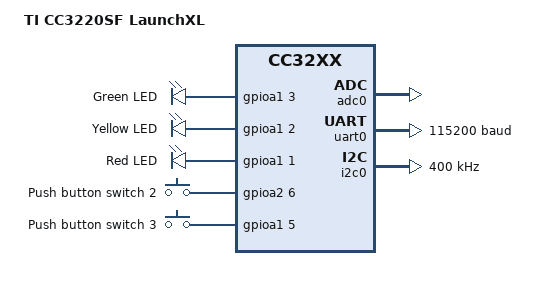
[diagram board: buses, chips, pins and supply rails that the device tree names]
/* SPDX-License-Identifier: Apache-2.0 */

/dts-v1/;

#include <ti/cc3220sf.dtsi>

/ {
	model = "TI CC3220SF LaunchXL";
	compatible = "ti,cc3220sf-launchxl", "ti,cc3220sf", "ti,cc32xx";

	aliases {
		uart-0 = &uart0;
		uart-1 = &uart1;
		i2c-0 = &i2c0;
		led0 = &led0;
		led1 = &led1;
		led2 = &led2;
		/* sw0/1 alias defined for compatibility with samples */
		sw0 = &sw2;
		sw1 = &sw3;
	};

	chosen {
		zephyr,sram = &sram0;
		zephyr,flash = &flash1;
		zephyr,console = &uart0;
		zephyr,shell-uart = &uart0;
	};

	leds {
		compatible = "gpio-leds";
		led0: led_0 {
			gpios = <&gpioa1 3 GPIO_ACTIVE_HIGH>;
			label = "Green LED";
		};
		led1: led_1 {
			gpios = <&gpioa1 2 GPIO_ACTIVE_HIGH>;
			label = "Yellow LED";
		};
		led2: led_2 {
			gpios = <&gpioa1 1 GPIO_ACTIVE_HIGH>;
			label = "Red LED";
		};
	};

	buttons {
		/* Push button 2 */
		compatible = "gpio-keys";
		sw2: button_0 {
			gpios = <&gpioa2 6 GPIO_ACTIVE_HIGH>;
			label = "Push button switch 2";
		};
		/* Push button 3 */
		sw3: button_1 {
			gpios = <&gpioa1 5 GPIO_ACTIVE_HIGH>;
			label = "Push button switch 3";
		};
	};
};

&adc0 {
	status = "okay";
};

&uart0 {
	status = "okay";
	current-speed = <115200>;
};

&i2c0 {
	status = "okay";
	clock-frequency = <I2C_BITRATE_FAST>;
};
